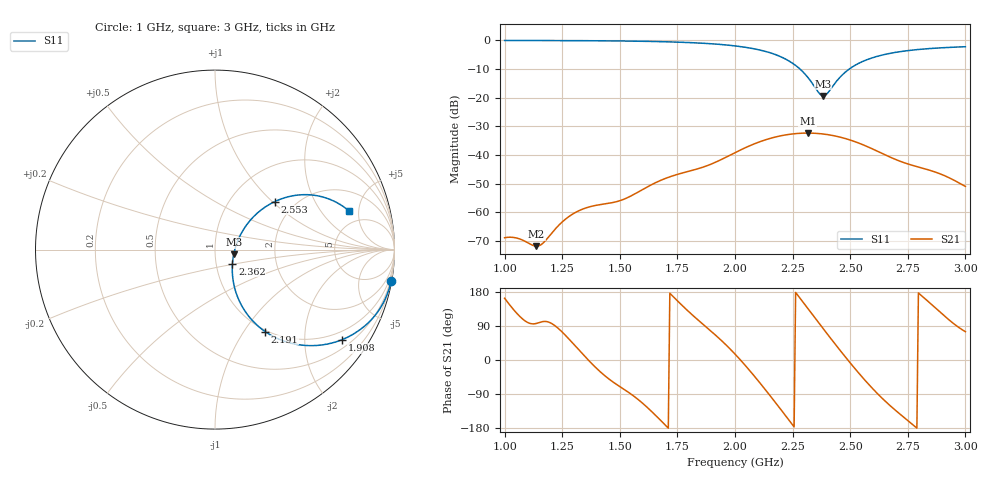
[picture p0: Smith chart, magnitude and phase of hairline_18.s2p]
! TOUCHSTONE file generated by CST MICROWAVE STUDIO
! Date and time: Tue Mar 18 20:31:42 2025
! Project name: hairline.cst
! Parameters = {B=12.5; D=160; F=15; Feed=2.85625; Fracture=2; L=100; M=50; R=0.384908; S=1.5; Theta=90; length=57.125; wave=114.25}
! Header version: 2024
! Port assignment regex: !\s*Touchstone port\s*([0-9]+)\s*=\s*(CST MWS port|CST DES external port|CST DES block port)\s*(.+)\s* \(\"(.*)\"\)(\s*mode\s*([0-9]+))?.*
! Touchstone port assignment:
! Touchstone port 1 = CST MWS port 1 ("")
! Touchstone port 2 = CST MWS port 2 ("")
# GHz S DB R 50
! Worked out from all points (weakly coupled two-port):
!   305 points, 1 GHz to 3 GHz, reference 50 ohm
!   highest |S21| = -32.32 dB at 2.316 GHz (marker M1); lowest = -71.8 dB at 1.138 GHz (marker M2)
!   lowest |S11| = -19.4 dB at 2.382 GHz (marker M3), VSWR 1.24, Z = 61.5 - j3.29 ohm
!   |S11| at or under -10 dB: 2.282 GHz to 2.496 GHz (213.7 MHz wide, 8.95 % of centre)
!   S12 and S22 are empty: the file has one direction only
!   S11 on the Smith chart (normalised r, x): 1 GHz: 0, -11; 1.908 GHz: 0.73, -2.98; 2.191 GHz: 0.98, -1.25; 2.362 GHz: 1.20, -0.19; 2.553 GHz: 1.58, +1.03; 3 GHz: 3.57, +3.87
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1  -0.02 -10.0  -68.82 162.9  -200.00 0.0  -200.00 0.0
1.05263  -0.03 -10.7  -68.93 123.4  -200.00 0.0  -200.00 0.0
1.13816  -0.04 -12.0  -71.77 96.6  -200.00 0.0  -200.00 0.0
1.16447  -0.04 -12.4  -70.86 101.2  -200.00 0.0  -200.00 0.0
1.26316  -0.07 -14.1  -62.42 65.6  -200.00 0.0  -200.00 0.0
1.33553  -0.10 -15.5  -58.94 17.9  -200.00 0.0  -200.00 0.0
1.50658  -0.20 -19.4  -55.74 -72.8  -200.00 0.0  -200.00 0.0
1.67105  -0.42 -24.5  -49.04 -155.6  -200.00 0.0  -200.00 0.0
1.90789  -1.23 -35.4  -42.76 69.7  -200.00 0.0  -200.00 0.0
2  -1.92 -41.4  -39.16 15.7  -200.00 0.0  -200.00 0.0
2.19079  -5.43 -58.6  -33.41 -124.2  -200.00 0.0  -200.00 0.0
2.26316  -8.74 -64.3  -32.51 178.2  -200.00 0.0  -200.00 0.0
2.31579  -12.86 -62.1  -32.32 136.1  -200.00 0.0  -200.00 0.0
2.33553  -14.99 -56.6  -32.35 120.3  -200.00 0.0  -200.00 0.0
2.36184  -18.07 -38.8  -32.48 99.3  -200.00 0.0  -200.00 0.0
2.38158  -19.36 -14.2  -32.64 83.6  -200.00 0.0  -200.00 0.0
2.40132  -18.45 11.1  -32.85 68.0  -200.00 0.0  -200.00 0.0
2.47368  -11.43 40.2  -34.11 12.1  -200.00 0.0  -200.00 0.0
2.55263  -7.40 38.8  -36.31 -45.5  -200.00 0.0  -200.00 0.0
2.67105  -4.55 31.1  -40.62 -119.3  -200.00 0.0  -200.00 0.0
2.88816  -2.62 20.0  -46.48 127.4  -200.00 0.0  -200.00 0.0
3  -2.21 16.2  -50.92 74.8  -200.00 0.0  -200.00 0.0
